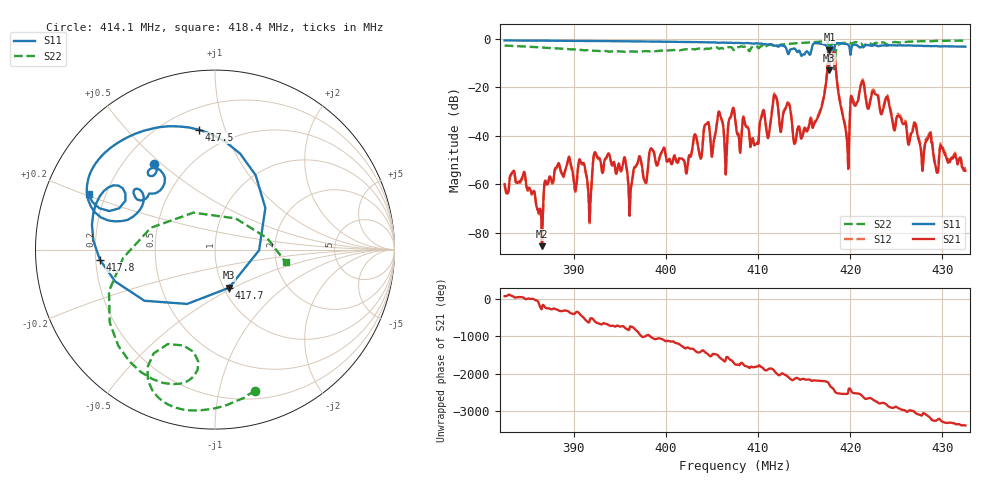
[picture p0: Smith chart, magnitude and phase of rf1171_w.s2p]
!RF1171,  DEMO1,wide,BN,8/25/06
# HZ S RI R 50
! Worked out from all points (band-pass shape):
!   1601 points, 382.5 MHz to 432.5 MHz, reference 50 ohm
!   highest |S21| = -4.40 dB at 417.8 MHz (marker M1); lowest = -85.6 dB at 386.6 MHz (marker M2)
!   |S21| within 3 dB of the highest: 417.6378 MHz to 417.9511 MHz (313.4 kHz wide, 0.075 % of centre); 418.0594 MHz to 418.329 MHz (269.6 kHz wide, 0.0645 % of centre)
!   lowest |S11| = -12.9 dB at 417.7 MHz (marker M3), VSWR 1.59, Z = 53 - j23.8 ohm
!   |S11| at or under -10 dB: 417.6674 MHz to 417.7444 MHz (77.01 kHz wide, 0.0184 % of centre)
!   |S22| runs from -13.6 to -0.6 dB; largest |S21 - S12| = 0.036
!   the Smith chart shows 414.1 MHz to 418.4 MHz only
!   S11 on the Smith chart (normalised r, x): 414.1 MHz: 0.33, +0.48; 417.5 MHz: 0.33, +0.82; 417.7 MHz: 1.06, -0.48; 417.8 MHz: 0.22, -0.04; 418.4 MHz: 0.14, +0.21
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3.825e8  -0.9341 -0.0269  0.000304 0.000955  0.000295 0.000898  -0.4189 0.6018
3.865625e8  -0.9245 0.041  -4.1e-05 3.29e-05  -5.57e-05 2.67e-05  -0.1853 0.643
3.881875e8  -0.9187 0.0699  0.000629 0.00226  0.000598 0.00215  -0.077 0.636
3.908437e8  -0.906 0.1182  5.25e-05 -0.00273  8.89e-05 -0.00259  0.1117 0.5854
3.916875e8  -0.9011 0.134  -3.97e-05 0.000231  -5.14e-05 0.000201  0.1694 0.5632
3.92375e8  -0.8969 0.1468  -0.000902 0.00429  -0.000928 0.00404  0.2119 0.5318
3.96125e8  -0.8678 0.2223  0.000475 -0.0001  0.000485 -7.49e-05  0.4413 0.3336
3.991875e8  -0.8357 0.2865  0.00256 0.00124  0.00241 0.00134  0.5623 0.0963
4.075e8  -0.6829 0.4723  0.0142 0.0187  0.0133 0.02  0.4376 -0.4474
4.097812e8  -0.6155 0.537  0.00656 -0.00158  0.00695 -0.00113  0.3642 -0.6257
4.11875e8  -0.4815 0.5571  -0.0638 -0.0246  -0.0657 -0.0296  0.3044 -0.6286
4.14125e8  -0.3372 0.4794  0.00585 0.00628  0.00587 0.0069  0.2243 -0.7875
4.158437e8  -0.6353 0.1792  0.014 -0.00971  0.0152 -0.00928  0.1059 -0.8461
4.175e8  -0.0897 0.6679  0.1073 -0.1702  0.1181 -0.1866  -0.2596 -0.8639
4.177188e8  0.0779 -0.2129  -0.347 -0.489  -0.3692 -0.4861  -0.2632 -0.5265
4.1775e8  -0.1551 -0.3027  -0.4713 -0.3757  -0.4788 -0.3743  -0.1764 -0.5338
4.178437e8  -0.6417 -0.0555  -0.5102 -0.0175  -0.5216 -0.0358  -0.0973 -0.671
4.18375e8  -0.7044 0.308  0.2868 0.1751  0.2783 0.1935  0.3938 -0.0704
4.196563e8  -0.4514 0.6384  0.00738 -0.00266  0.00806 -0.00253  0.0838 -0.8479
4.212812e8  -0.4069 0.546  0.0457 -0.1196  0.0519 -0.1279  -0.1057 -0.7664
4.241875e8  -0.3314 0.6649  0.0479 -0.000858  0.0519 -0.000114  -0.0252 -0.7932
4.325e8  0.1129 0.6846  -0.00154 -0.00112  -0.00173 -0.00115  -0.3075 -0.8791
